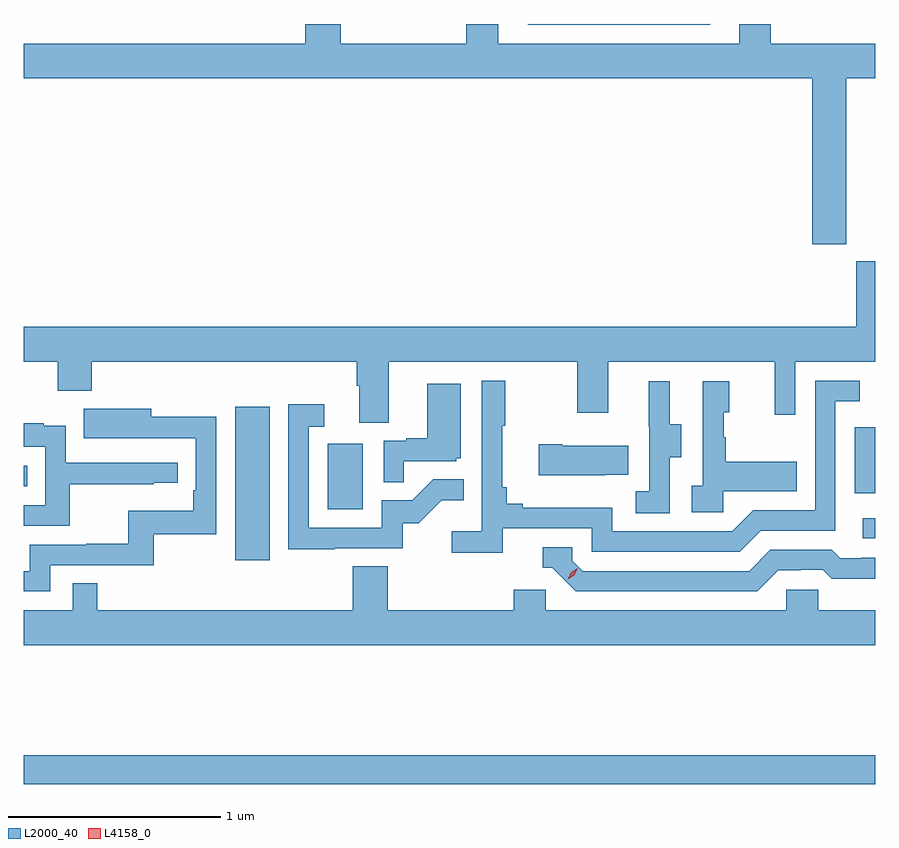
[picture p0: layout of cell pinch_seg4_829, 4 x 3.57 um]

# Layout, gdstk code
import gdstk
lib = gdstk.Library(unit=1e-6, precision=1e-09)
def R(c, l, rs):  # rectangles x0, y0, x1, y1
    for r in rs: c.add(gdstk.rectangle(r[:2], r[2:], *l))
def P(c, l, *ps):  # polygons
    for p in ps: c.add(gdstk.Polygon(p, *l))
L2000_40 = (2000, 40)
L4158_0 = (4158, 0)

pinch_seg4_829 = lib.new_cell('pinch_seg4_829')
R(pinch_seg4_829, L2000_40, [(866.522,806.824,870.522,806.96), (867.515,807.876,867.676,808.597), (870.465,807.978,870.522,808.074), (867.95,808.116,868.114,808.423), (870.426,808.191,870.522,808.5), (866.522,808.224,866.537,808.32)])
P(pinch_seg4_829, L2000_40, [(870.387,810.14),(870.522,810.14),(870.522,810.304),(870.033,810.304),(870.033,810.396),(869.883,810.396),(869.883,810.304),(868.752,810.304),(868.752,810.396),(868.601,810.396),(868.601,810.304),(868.01,810.304),(868.01,810.396),(867.845,810.396),(867.845,810.304),(866.522,810.304),(866.522,810.14),(870.227,810.14),(870.227,809.361),(870.387,809.361)],
  [(869.749,810.396),(868.89,810.396),(868.893,810.393),(869.746,810.393)],
  [(868.237,808.808),(869.122,808.808),(869.122,808.569),(869.269,808.569),(869.269,808.808),(870.05,808.808),(870.05,808.56),(870.147,808.56),(870.147,808.808),(870.522,808.808),(870.522,809.281),(870.434,809.281),(870.434,808.972),(866.522,808.972),(866.522,808.808),(866.68,808.808),(866.68,808.673),(866.84,808.673),(866.84,808.808),(868.085,808.808),(868.085,808.696),(868.097,808.696),(868.097,808.522),(868.237,808.522)],
  [(868.772,808.026),(869.19,808.026),(869.19,807.915),(869.887,807.915),(869.986,808.014),(870.336,808.014),(870.336,808.623),(870.449,808.623),(870.449,808.719),(870.24,808.719),(870.24,808.11),(869.949,808.11),(869.85,808.011),(869.286,808.011),(869.286,808.123),(868.867,808.123),(868.867,808.142),(868.79,808.142),(868.79,808.219),(868.771,808.219),(868.771,808.507),(868.783,808.507),(868.783,808.72),(868.674,808.72),(868.674,808.012),(868.533,808.012),(868.533,807.91),(868.772,807.91)],
  [(869.556,808.36),(869.611,808.36),(869.611,808.515),(869.557,808.515),(869.557,808.717),(869.459,808.717),(869.459,808.503),(869.46,808.503),(869.46,808.199),(869.397,808.199),(869.397,808.096),(869.556,808.096)],
  [(869.808,808.199),(870.155,808.199),(870.155,808.339),(869.821,808.339),(869.821,808.454),(869.811,808.454),(869.811,808.572),(869.836,808.572),(869.836,808.717),(869.712,808.717),(869.712,808.226),(869.661,808.226),(869.661,808.101),(869.808,808.101)],
  [(868.307,808.341),(868.554,808.341),(868.554,808.356),(868.576,808.356),(868.576,808.705),(868.418,808.705),(868.418,808.45),(868.319,808.45),(868.319,808.437),(868.212,808.437),(868.212,808.243),(868.307,808.243)],
  [(867.983,807.933),(868.302,807.933),(868.302,808.05),(868.378,808.05),(868.485,808.157),(868.589,808.157),(868.589,808.256),(868.445,808.256),(868.347,808.158),(868.203,808.158),(868.203,808.029),(867.861,808.029),(867.861,808.503),(867.934,808.503),(867.934,808.609),(867.765,808.609),(867.765,807.928),(867.983,807.928)],
  [(866.646,807.852),(867.133,807.852),(867.133,807.999),(867.426,807.999),(867.426,808.55),(867.121,808.55),(867.121,808.588),(866.803,808.588),(866.803,808.448),(867.017,808.448),(867.017,808.449),(867.33,808.449),(867.33,808.204),(867.317,808.204),(867.317,808.108),(867.012,808.108),(867.012,807.953),(866.815,807.953),(866.815,807.948),(866.55,807.948),(866.55,807.825),(866.522,807.825),(866.522,807.729),(866.646,807.729)],
  [(866.738,808.234),(867.131,808.234),(867.131,808.239),(867.244,808.239),(867.244,808.335),(866.718,808.335),(866.718,808.507),(866.615,808.507),(866.615,808.519),(866.522,808.519),(866.522,808.41),(866.622,808.41),(866.622,808.134),(866.522,808.134),(866.522,808.038),(866.738,808.038)],
  [(869.255,808.277),(869.363,808.277),(869.363,808.414),(869.053,808.414),(869.053,808.422),(868.941,808.422),(868.941,808.274),(869.255,808.274)],
  [(870.067,807.828),(870.174,807.828),(870.174,807.831),(870.277,807.831),(870.319,807.789),(870.522,807.789),(870.522,807.888),(870.457,807.888),(870.457,807.885),(870.358,807.885),(870.319,807.924),(870.03,807.924),(869.931,807.825),(869.148,807.825),(869.1,807.873),(869.1,807.936),(868.961,807.936),(868.961,807.84),(869.004,807.84),(869.115,807.729),(869.968,807.729)],
  [(870.522,807.64),(870.255,807.64),(870.255,807.738),(870.105,807.738),(870.105,807.64),(868.974,807.64),(868.974,807.738),(868.823,807.738),(868.823,807.64),(868.232,807.64),(868.232,807.848),(868.067,807.848),(868.067,807.64),(866.867,807.64),(866.867,807.767),(866.751,807.767),(866.751,807.64),(866.522,807.64),(866.522,807.476),(870.522,807.476)])
P(pinch_seg4_829, L4158_0, [(869.077,807.786),(869.077,807.786),(869.094,807.819),(869.125,807.838),(869.125,807.838),(869.125,807.838),(869.109,807.805),(869.078,807.786)])

lib.write_gds('pinch_seg4_829.gds')
